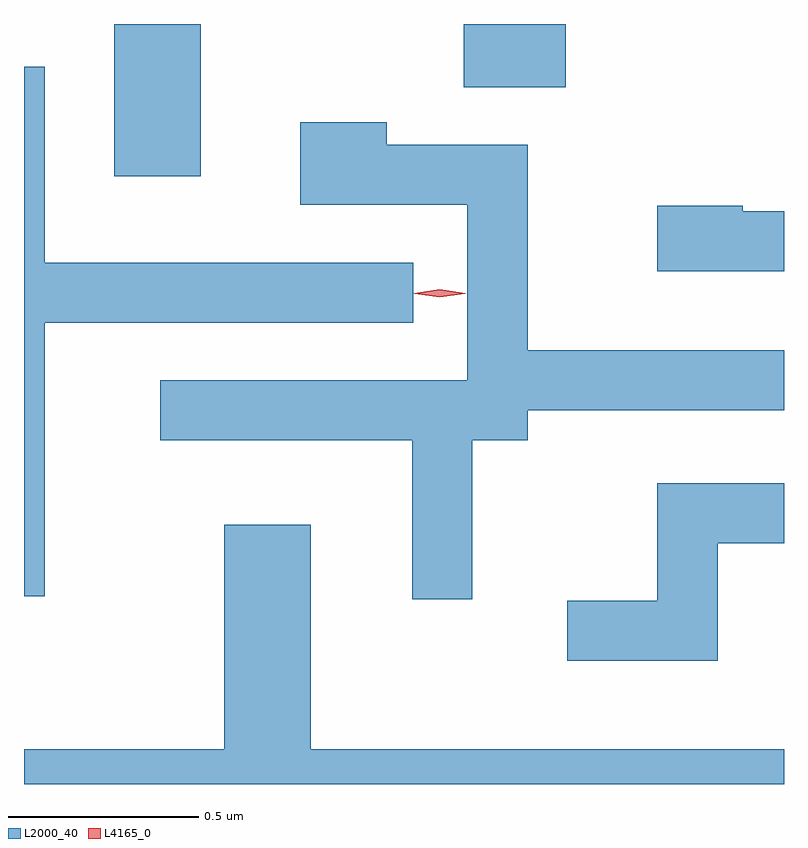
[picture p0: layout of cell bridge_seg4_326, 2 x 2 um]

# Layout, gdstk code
import gdstk
lib = gdstk.Library(unit=1e-6, precision=1e-09)
def R(c, l, rs):  # rectangles x0, y0, x1, y1
    for r in rs: c.add(gdstk.rectangle(r[:2], r[2:], *l))
def P(c, l, *ps):  # polygons
    for p in ps: c.add(gdstk.Polygon(p, *l))
L2000_40 = (2000, 40)
L4165_0 = (4165, 0)

bridge_seg4_326 = lib.new_cell('bridge_seg4_326')
R(bridge_seg4_326, L2000_40, [(627.021,1265.431,627.249,1265.832), (627.941,1265.666,628.209,1265.832)])
P(bridge_seg4_326, L2000_40, [(626.839,1265.046),(627.808,1265.046),(627.808,1265.204),(626.839,1265.204),(626.839,1265.719),(626.784,1265.719),(626.784,1264.326),(626.839,1264.326)],
  [(627.964,1264.736),(628.109,1264.736),(628.109,1264.816),(628.784,1264.816),(628.784,1264.974),(628.109,1264.974),(628.109,1265.514),(627.739,1265.514),(627.739,1265.574),(627.511,1265.574),(627.511,1265.356),(627.951,1265.356),(627.951,1264.894),(627.143,1264.894),(627.143,1264.736),(627.806,1264.736),(627.806,1264.318),(627.964,1264.318)],
  [(628.784,1265.339),(628.675,1265.339),(628.675,1265.354),(628.451,1265.354),(628.451,1265.181),(628.784,1265.181)],
  [(628.609,1264.466),(628.784,1264.466),(628.784,1264.624),(628.451,1264.624),(628.451,1264.314),(628.213,1264.314),(628.213,1264.156),(628.609,1264.156)],
  [(628.784,1263.924),(627.539,1263.924),(627.539,1264.514),(627.311,1264.514),(627.311,1263.924),(626.784,1263.924),(626.784,1263.832),(628.784,1263.832)])
P(bridge_seg4_326, L4165_0, [(627.878,1265.113),(627.812,1265.122),(627.812,1265.123),(627.812,1265.123),(627.878,1265.133),(627.944,1265.123),(627.945,1265.123),(627.944,1265.122)],
  [(627.878,1265.114),(627.809,1265.123),(627.809,1265.124),(627.809,1265.124),(627.878,1265.134),(627.947,1265.124),(627.947,1265.124),(627.947,1265.123)])

lib.write_gds('bridge_seg4_326.gds')
